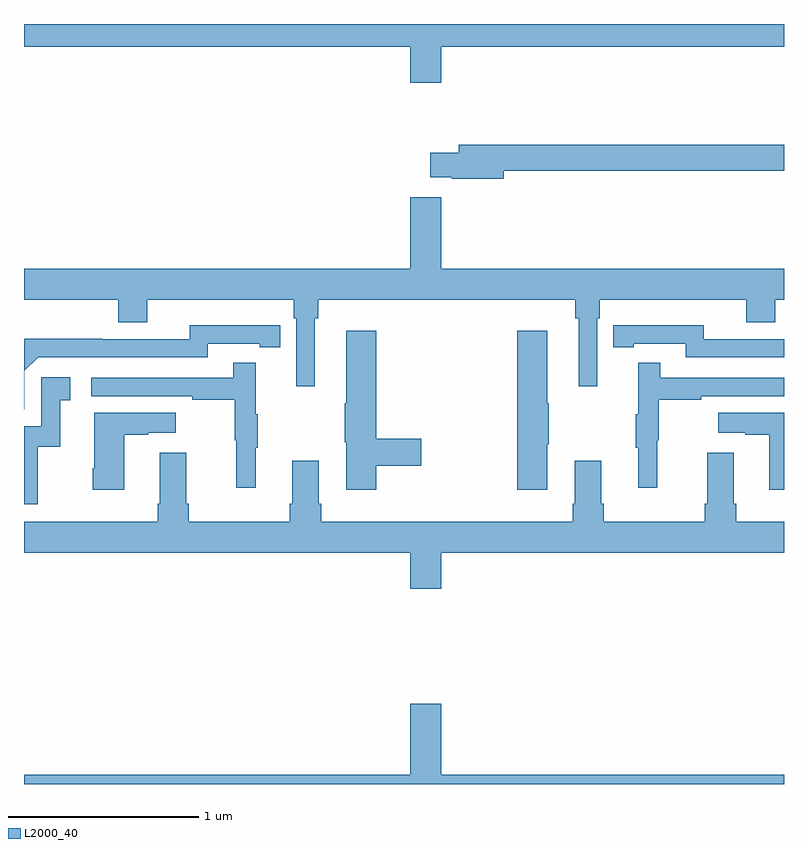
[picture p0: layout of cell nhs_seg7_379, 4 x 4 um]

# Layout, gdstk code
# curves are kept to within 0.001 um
import gdstk
lib = gdstk.Library(unit=1e-6, precision=1e-09)
def P(c, l, *ps):  # polygons
    for p in ps: c.add(gdstk.Polygon(p, *l))
L2000_40 = (2000, 40)

nhs_seg7_379 = lib.new_cell('nhs_seg7_379')
P(nhs_seg7_379, L2000_40, [(141.196,1069.88),(143,1069.88),(143,1070),(139,1070),(139,1069.88),(141.032,1069.88),(141.032,1069.692),(141.196,1069.692)],
  [(141.526,1069.228),(143,1069.228),(143,1069.364),(141.287,1069.364),(141.287,1069.323),(141.138,1069.323),(141.138,1069.193),(141.25,1069.193),(141.25,1069.186),(141.526,1069.186)],
  [(140.53,1068.452),(140.549,1068.452),(140.549,1068.548),(141.901,1068.548),(141.901,1068.452),(141.92,1068.452),(141.92,1068.093),(142.017,1068.093),(142.017,1068.452),(142.031,1068.452),(142.031,1068.548),(142.802,1068.548),(142.802,1068.431),(142.955,1068.431),(142.955,1068.548),(143,1068.548),(143,1068.712),(141.196,1068.712),(141.196,1069.087),(141.032,1069.087),(141.032,1068.712),(139,1068.712),(139,1068.548),(139.496,1068.548),(139.496,1068.431),(139.648,1068.431),(139.648,1068.548),(140.42,1068.548),(140.42,1068.452),(140.433,1068.452),(140.433,1068.093),(140.53,1068.093)],
  [(143,1068.342),(142.578,1068.342),(142.578,1068.415),(142.21,1068.415),(142.21,1068.414),(142.102,1068.414),(142.102,1068.298),(142.21,1068.298),(142.21,1068.318),(142.482,1068.318),(142.482,1068.246),(143,1068.246)],
  [(139.002,1068.174),(139.074,1068.246),(139.968,1068.246),(139.968,1068.318),(140.24,1068.318),(140.24,1068.298),(140.348,1068.298),(140.348,1068.414),(139.872,1068.415),(139.872,1068.342),(139.412,1068.342),(139.412,1068.344),(139.004,1068.344),(139,1068.34),(139,1067.973),(139.002,1067.973)],
  [(141.754,1067.788),(141.762,1067.788),(141.762,1068.005),(141.754,1068.005),(141.754,1068.385),(141.596,1068.385),(141.596,1067.55),(141.754,1067.55)],
  [(140.855,1067.674),(141.091,1067.674),(141.091,1067.816),(140.855,1067.816),(140.855,1068.385),(140.696,1068.385),(140.696,1068.005),(140.689,1068.005),(140.689,1067.799),(140.696,1067.799),(140.696,1067.55),(140.855,1067.55)],
  [(142.334,1067.808),(142.342,1067.808),(142.342,1068.022),(142.565,1068.022),(142.565,1068.042),(143,1068.042),(143,1068.138),(142.349,1068.138),(142.349,1068.217),(142.232,1068.217),(142.232,1067.945),(142.221,1067.945),(142.221,1067.771),(142.232,1067.771),(142.232,1067.559),(142.334,1067.559)],
  [(140.219,1067.771),(140.23,1067.771),(140.23,1067.945),(140.219,1067.945),(140.219,1068.217),(140.101,1068.217),(140.101,1068.138),(139.353,1068.138),(139.353,1068.042),(139.885,1068.042),(139.885,1068.022),(140.109,1068.022),(140.109,1067.808),(140.116,1067.808),(140.116,1067.559),(140.219,1067.559)],
  [(139.072,1067.775),(139.19,1067.775),(139.19,1068.021),(139.243,1068.021),(139.243,1068.142),(139.092,1068.142),(139.092,1067.883),(139,1067.883),(139,1067.472),(139.072,1067.472)],
  [(139.528,1067.839),(139.655,1067.839),(139.655,1067.849),(139.798,1067.849),(139.798,1067.953),(139.37,1067.953),(139.37,1067.662),(139.363,1067.662),(139.363,1067.55),(139.528,1067.55)],
  [(143,1067.953),(142.653,1067.953),(142.653,1067.849),(142.796,1067.849),(142.796,1067.839),(142.922,1067.839),(142.922,1067.55),(143,1067.55)],
  [(143,1067.38),(142.748,1067.38),(142.748,1067.476),(142.735,1067.476),(142.735,1067.743),(142.595,1067.743),(142.595,1067.476),(142.583,1067.476),(142.583,1067.38),(142.052,1067.38),(142.052,1067.476),(142.039,1067.476),(142.039,1067.701),(141.899,1067.701),(141.899,1067.476),(141.887,1067.476),(141.887,1067.38),(140.564,1067.38),(140.564,1067.476),(140.551,1067.476),(140.551,1067.701),(140.411,1067.701),(140.411,1067.476),(140.399,1067.476),(140.399,1067.38),(139.868,1067.38),(139.868,1067.476),(139.855,1067.476),(139.855,1067.743),(139.715,1067.743),(139.715,1067.476),(139.703,1067.476),(139.703,1067.38),(139,1067.38),(139,1067.216),(141.032,1067.216),(141.032,1067.028),(141.196,1067.028),(141.196,1067.216),(143,1067.216)],
  [(143,1066.048),(141.196,1066.048),(141.196,1066.423),(141.032,1066.423),(141.032,1066.048),(139,1066.048),(139,1066),(143,1066)])

lib.write_gds('nhs_seg7_379.gds')
